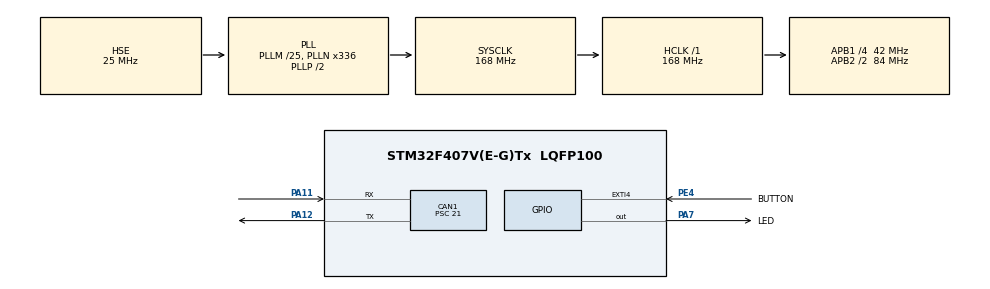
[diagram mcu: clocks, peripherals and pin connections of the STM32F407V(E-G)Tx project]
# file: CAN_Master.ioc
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CAN1.BS2=CAN_BS2_2TQ
CAN1.CalculateBaudRate=500000
CAN1.CalculateTimeBit=2000
CAN1.CalculateTimeQuantum=500.0
CAN1.Prescaler=21
Mcu.Family=STM32F4
Mcu.Name=STM32F407V(E-G)Tx
Mcu.Package=LQFP100
NVIC.CAN1_RX0_IRQn=true\:0\:0\:false\:false\:true\:true\:true\:true
NVIC.EXTI4_IRQn=true\:0\:0\:false\:false\:true\:true\:true\:true
NVIC.PriorityGroup=NVIC_PRIORITYGROUP_4
PA11.GPIO_PuPd=GPIO_PULLUP
PA11.Mode=CAN_Activate
PA11.Signal=CAN1_RX
PA12.Mode=CAN_Activate
PA12.Signal=CAN1_TX
PA13.Mode=Serial_Wire
PA13.Signal=SYS_JTMS-SWDIO
PA14.Mode=Serial_Wire
PA14.Signal=SYS_JTCK-SWCLK
PA7.GPIO_Label=LED
PA7.GPIO_PuPd=GPIO_PULLUP
PA7.PinState=GPIO_PIN_SET
PA7.Signal=GPIO_Output
PE4.GPIO_Label=BUTTON
PE4.GPIO_ModeDefaultEXTI=GPIO_MODE_IT_FALLING
PE4.GPIO_PuPd=GPIO_PULLUP
PE4.Signal=GPXTI4
PH0-OSC_IN.Mode=HSE-External-Oscillator
PH0-OSC_IN.Signal=RCC_OSC_IN
PH1-OSC_OUT.Mode=HSE-External-Oscillator
PH1-OSC_OUT.Signal=RCC_OSC_OUT
ProjectManager.HeapSize=0x200
ProjectManager.StackSize=0x400
ProjectManager.TargetToolchain=STM32CubeIDE
RCC.48MHZClocksFreq_Value=84000000
RCC.AHBFreq_Value=168000000
RCC.APB1CLKDivider=RCC_HCLK_DIV4
RCC.APB1Freq_Value=42000000
RCC.APB1TimFreq_Value=84000000
RCC.APB2CLKDivider=RCC_HCLK_DIV2
RCC.APB2Freq_Value=84000000
RCC.APB2TimFreq_Value=168000000
RCC.CortexFreq_Value=168000000
RCC.HCLKFreq_Value=168000000
RCC.HSE_VALUE=25000000
RCC.HSI_VALUE=16000000
RCC.LSE_VALUE=32768
RCC.PLLM=25
RCC.PLLN=336
RCC.PLLSourceVirtual=RCC_PLLSOURCE_HSE
RCC.SYSCLKFreq_VALUE=168000000
RCC.SYSCLKSource=RCC_SYSCLKSOURCE_PLLCLK
RCC.VCOOutputFreq_Value=336000000
board=custom

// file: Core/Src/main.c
/* USER CODE BEGIN Header */
/**
  ******************************************************************************
  * @file           : main.c
  * @brief          : Main program body
  ******************************************************************************
  * @attention
  *
  * Copyright (c) 2023 STMicroelectronics.
  * All rights reserved.
  *
  * This software is licensed under terms that can be found in the LICENSE file
  * in the root directory of this software component.
  * If no LICENSE file comes with this software, it is provided AS-IS.
  *
  ******************************************************************************
  */
/* USER CODE END Header */
#include "main.h"

/* USER CODE BEGIN Includes */
#include "string.h"
#include "stdio.h"
#include "stdlib.h"
/* USER CODE END Includes */

/* USER CODE BEGIN PD */
#define CHECKFLAG(FLAG, variable)	 (variable & FLAG ? 1 : 0)
#define SETFLAG(FLAG, variable)		 (variable |= (FLAG))
#define CLEARFLAG(FLAG, variable)	 (variable &= ~(FLAG))

#define FLAG_COMPLETE_RECEIVE_CAN	(1<<0)
#define FLAG_BUTTON					(1<<1)
/* USER CODE END PD */

CAN_HandleTypeDef hcan1;

/* USER CODE BEGIN PV */
uint8_t flag = 0;
/* USER CODE END PV */

void SystemClock_Config(void);
static void MX_GPIO_Init(void);
static void MX_CAN1_Init(void);

/* USER CODE BEGIN 0 */
CAN_HandleTypeDef CAN_Handle;
CAN_TxHeaderTypeDef TxHeader;
CAN_RxHeaderTypeDef RxHeader;
uint8_t txdata[8];
uint8_t rxdata[8];
uint32_t TxMailBox;

void HAL_GPIO_EXTI_Callback(uint16_t GPIO_Pin){
	if(GPIO_Pin == BUTTON_Pin){
		SETFLAG(FLAG_BUTTON,flag);
	}
}

void HAL_CAN_RxFifo0MsgPendingCallback(CAN_HandleTypeDef *hcan){
	if(HAL_CAN_GetRxMessage(hcan, CAN_RX_FIFO0, &RxHeader, rxdata)){
		return;
	}
	SETFLAG(FLAG_COMPLETE_RECEIVE_CAN,flag);
}

void CAN_Receive(){
	if(!CHECKFLAG(FLAG_COMPLETE_RECEIVE_CAN,flag))
		return;
	CLEARFLAG(FLAG_COMPLETE_RECEIVE_CAN,flag);
	if(!strcmp((char*)rxdata,"NODE OK")){
		HAL_GPIO_TogglePin(LED_GPIO_Port,LED_Pin);
	}
}

void CAN_Transmit(){
	if(!CHECKFLAG(FLAG_BUTTON,flag))
		return;
	CLEARFLAG(FLAG_BUTTON,flag);
	strcpy((char*)txdata,"NODE1");
	if(HAL_CAN_AddTxMessage(&hcan1, &TxHeader, txdata, &TxMailBox) != HAL_OK){
		Error_Handler();
	}
}
/* USER CODE END 0 */

int main(void)
{

  /* MCU Configuration--------------------------------------------------------*/

  /* Reset of all peripherals, Initializes the Flash interface and the Systick. */
  HAL_Init();

  /* Configure the system clock */
  SystemClock_Config();

  /* Initialize all configured peripherals */
  MX_GPIO_Init();
  MX_CAN1_Init();
  /* USER CODE BEGIN 2 */

  if(HAL_CAN_Start(&hcan1) != HAL_OK){
    Error_Handler();
  }

  if(HAL_CAN_ActivateNotification(&hcan1, CAN_IT_RX_FIFO0_MSG_PENDING) != HAL_OK){
    Error_Handler();
  }

  TxHeader.DLC = 1;
  TxHeader.IDE = CAN_ID_STD;
  TxHeader.RTR = CAN_RTR_DATA;
  TxHeader.StdId = 0x407;

  /* USER CODE END 2 */

  /* Infinite loop */
  /* USER CODE BEGIN WHILE */
  while (1)
  {
	  CAN_Transmit();
	  CAN_Receive();
    /* USER CODE END WHILE */

  }
}

void SystemClock_Config(void)
{
  RCC_OscInitTypeDef RCC_OscInitStruct = {0};
  RCC_ClkInitTypeDef RCC_ClkInitStruct = {0};

  /** Configure the main internal regulator output voltage
  */
  __HAL_RCC_PWR_CLK_ENABLE();
  __HAL_PWR_VOLTAGESCALING_CONFIG(PWR_REGULATOR_VOLTAGE_SCALE1);

  /** Initializes the RCC Oscillators according to the specified parameters
  * in the RCC_OscInitTypeDef structure.
  */
  RCC_OscInitStruct.OscillatorType = RCC_OSCILLATORTYPE_HSE;
  RCC_OscInitStruct.HSEState = RCC_HSE_ON;
  RCC_OscInitStruct.PLL.PLLState = RCC_PLL_ON;
  RCC_OscInitStruct.PLL.PLLSource = RCC_PLLSOURCE_HSE;
  RCC_OscInitStruct.PLL.PLLM = 25;
  RCC_OscInitStruct.PLL.PLLN = 336;
  RCC_OscInitStruct.PLL.PLLP = RCC_PLLP_DIV2;
  RCC_OscInitStruct.PLL.PLLQ = 4;
  if (HAL_RCC_OscConfig(&RCC_OscInitStruct) != HAL_OK)
  {
    Error_Handler();
  }

  /** Initializes the CPU, AHB and APB buses clocks
  */
  RCC_ClkInitStruct.ClockType = RCC_CLOCKTYPE_HCLK|RCC_CLOCKTYPE_SYSCLK
                              |RCC_CLOCKTYPE_PCLK1|RCC_CLOCKTYPE_PCLK2;
  RCC_ClkInitStruct.SYSCLKSource = RCC_SYSCLKSOURCE_PLLCLK;
  RCC_ClkInitStruct.AHBCLKDivider = RCC_SYSCLK_DIV1;
  RCC_ClkInitStruct.APB1CLKDivider = RCC_HCLK_DIV4;
  RCC_ClkInitStruct.APB2CLKDivider = RCC_HCLK_DIV2;

  if (HAL_RCC_ClockConfig(&RCC_ClkInitStruct, FLASH_LATENCY_5) != HAL_OK)
  {
    Error_Handler();
  }
}

static void MX_CAN1_Init(void)
{

  hcan1.Instance = CAN1;
  hcan1.Init.Prescaler = 21;
  hcan1.Init.Mode = CAN_MODE_NORMAL;
  hcan1.Init.SyncJumpWidth = CAN_SJW_1TQ;
  hcan1.Init.TimeSeg1 = CAN_BS1_1TQ;
  hcan1.Init.TimeSeg2 = CAN_BS2_2TQ;
  hcan1.Init.TimeTriggeredMode = DISABLE;
  hcan1.Init.AutoBusOff = DISABLE;
  hcan1.Init.AutoWakeUp = DISABLE;
  hcan1.Init.AutoRetransmission = DISABLE;
  hcan1.Init.ReceiveFifoLocked = DISABLE;
  hcan1.Init.TransmitFifoPriority = DISABLE;
  if (HAL_CAN_Init(&hcan1) != HAL_OK)
  {
    Error_Handler();
  }
  /* USER CODE BEGIN CAN1_Init 2 */

  CAN_FilterTypeDef canfilterconfig;

  canfilterconfig.FilterActivation = CAN_FILTER_ENABLE;
  canfilterconfig.FilterBank = 18;
  canfilterconfig.FilterFIFOAssignment = CAN_FILTER_FIFO0;
  canfilterconfig.FilterIdHigh = 0x103 <<5;
  canfilterconfig.FilterIdLow = 0x0000;
  canfilterconfig.FilterMaskIdHigh = 0xfff << 5;
  canfilterconfig.FilterMaskIdLow = 0x0000;
  canfilterconfig.FilterMode = CAN_FILTERMODE_IDMASK;
  canfilterconfig.FilterScale = CAN_FILTERSCALE_32BIT;
  canfilterconfig.SlaveStartFilterBank = 20;

  HAL_CAN_ConfigFilter(&hcan1, &canfilterconfig);

  /* USER CODE END CAN1_Init 2 */

}

static void MX_GPIO_Init(void)
{
  GPIO_InitTypeDef GPIO_InitStruct = {0};

  /* GPIO Ports Clock Enable */
  __HAL_RCC_GPIOE_CLK_ENABLE();
  __HAL_RCC_GPIOH_CLK_ENABLE();
  __HAL_RCC_GPIOA_CLK_ENABLE();

  /*Configure GPIO pin Output Level */
  HAL_GPIO_WritePin(LED_GPIO_Port, LED_Pin, GPIO_PIN_SET);

  /*Configure GPIO pin : BUTTON_Pin */
  GPIO_InitStruct.Pin = BUTTON_Pin;
  GPIO_InitStruct.Mode = GPIO_MODE_IT_FALLING;
  GPIO_InitStruct.Pull = GPIO_PULLUP;
  HAL_GPIO_Init(BUTTON_GPIO_Port, &GPIO_InitStruct);

  /*Configure GPIO pin : LED_Pin */
  GPIO_InitStruct.Pin = LED_Pin;
  GPIO_InitStruct.Mode = GPIO_MODE_OUTPUT_PP;
  GPIO_InitStruct.Pull = GPIO_PULLUP;
  GPIO_InitStruct.Speed = GPIO_SPEED_FREQ_LOW;
  HAL_GPIO_Init(LED_GPIO_Port, &GPIO_InitStruct);

  /* EXTI interrupt init*/
  HAL_NVIC_SetPriority(EXTI4_IRQn, 0, 0);
  HAL_NVIC_EnableIRQ(EXTI4_IRQn);

}

void Error_Handler(void)
{
  __disable_irq();
  while (1)
  {
  }
}
